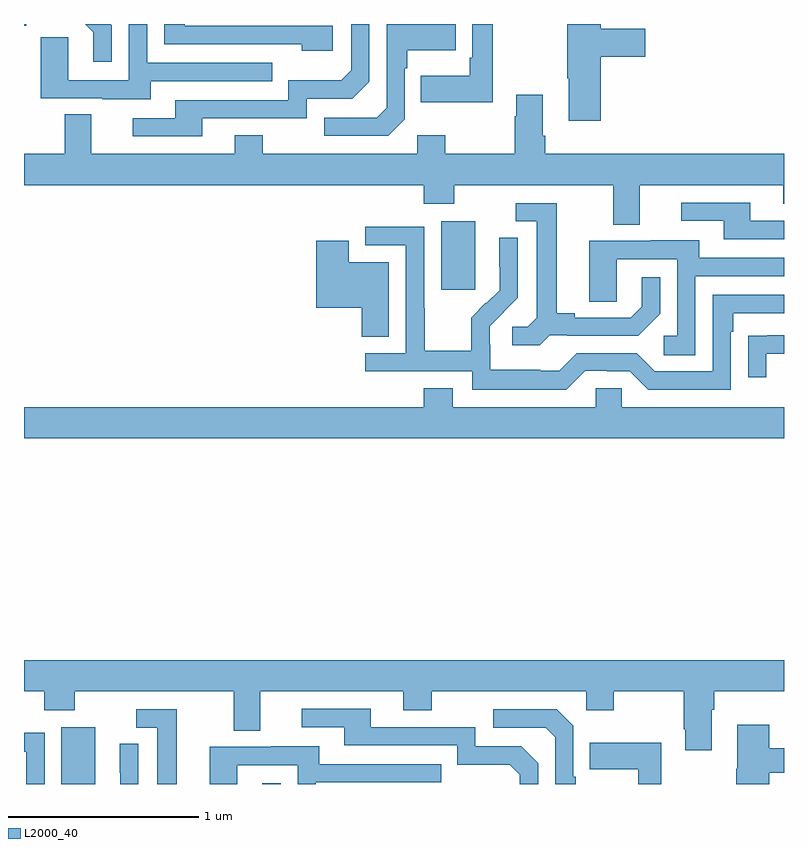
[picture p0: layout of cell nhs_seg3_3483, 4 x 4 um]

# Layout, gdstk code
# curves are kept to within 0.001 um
import gdstk
lib = gdstk.Library(unit=1e-6, precision=1e-09)
def R(c, l, rs):  # rectangles x0, y0, x1, y1
    for r in rs: c.add(gdstk.rectangle(r[:2], r[2:], *l))
def P(c, l, *ps):  # polygons
    for p in ps: c.add(gdstk.Polygon(p, *l))
L2000_40 = (2000, 40)

nhs_seg3_3483 = lib.new_cell('nhs_seg3_3483')
R(nhs_seg3_3483, L2000_40, [(291.197,728.4,291.376,728.698), (292.253,728.4,292.35,728.404), (293.195,731.001,293.374,731.362), (291,732.392,291.013,732.4)])
P(nhs_seg3_3483, L2000_40, [(294.035,732.227),(294.271,732.227),(294.271,732.374),(294.035,732.374),(294.035,732.4),(293.86,732.4),(293.86,732.115),(293.867,732.115),(293.867,731.892),(294.035,731.892)],
  [(292.624,732.39),(291.847,732.39),(291.847,732.4),(291.738,732.4),(291.738,732.294),(292.463,732.294),(292.463,732.26),(292.624,732.26)],
  [(293.467,732.4),(293.358,732.4),(293.358,732.223),(293.346,732.223),(293.346,732.127),(293.089,732.127),(293.089,731.987),(293.467,731.987)],
  [(291.462,732.394),(291.456,732.4),(291.322,732.4),(291.365,732.357),(291.365,732.201),(291.462,732.201)],
  [(293.004,731.898),(293.004,732.167),(293.017,732.167),(293.017,732.263),(293.273,732.263),(293.273,732.4),(292.908,732.4),(292.908,731.958),(292.857,731.907),(292.581,731.907),(292.581,731.811),(292.917,731.811)],
  [(291.667,732.099),(292.307,732.099),(292.307,732.195),(291.648,732.195),(291.648,732.4),(291.552,732.4),(291.552,732.105),(291.234,732.105),(291.234,732.329),(291.089,732.329),(291.089,732.009),(291.413,732.009),(291.413,732.005),(291.667,732.005)],
  [(291.937,731.904),(292.488,731.904),(292.488,732.006),(292.728,732.006),(292.818,732.096),(292.818,732.4),(292.722,732.4),(292.722,732.156),(292.669,732.103),(292.392,732.103),(292.392,732),(291.797,732),(291.797,731.904),(291.573,731.904),(291.573,731.808),(291.937,731.808)],
  [(294.241,731.552),(294.995,731.552),(294.995,731.453),(295,731.453),(295,731.716),(293.744,731.716),(293.744,731.812),(293.731,731.812),(293.731,732.028),(293.591,732.028),(293.591,731.915),(293.584,731.915),(293.584,731.716),(293.217,731.716),(293.217,731.815),(293.07,731.815),(293.07,731.716),(292.257,731.716),(292.257,731.815),(292.109,731.815),(292.109,731.716),(291.355,731.716),(291.355,731.924),(291.215,731.924),(291.215,731.716),(291,731.716),(291,731.552),(293.105,731.552),(293.105,731.453),(293.265,731.453),(293.265,731.552),(294.101,731.552),(294.101,731.344),(294.241,731.344)],
  [(295,731.364),(294.823,731.364),(294.823,731.46),(294.459,731.46),(294.459,731.364),(294.683,731.364),(294.683,731.268),(295,731.268)],
  [(293.766,730.761),(293.86,730.761),(293.86,730.758),(294.232,730.758),(294.348,730.874),(294.348,731.068),(294.251,731.068),(294.251,730.911),(294.194,730.854),(293.899,730.854),(293.899,730.877),(293.803,730.877),(293.803,731.457),(293.589,731.457),(293.589,731.361),(293.699,731.361),(293.699,730.853),(293.652,730.806),(293.571,730.806),(293.571,730.709),(293.714,730.709)],
  [(293.955,730.575),(294.071,730.575),(294.071,730.572),(294.189,730.572),(294.285,730.476),(294.72,730.476),(294.72,730.781),(294.733,730.781),(294.733,730.878),(295,730.878),(295,730.974),(294.624,730.974),(294.624,730.572),(294.321,730.572),(294.225,730.668),(293.91,730.668),(293.817,730.575),(293.717,730.575),(293.717,730.579),(293.454,730.579),(293.454,730.713),(293.452,730.713),(293.452,730.81),(293.598,730.958),(293.598,731.276),(293.502,731.276),(293.502,731.122),(293.504,731.122),(293.504,731),(293.433,730.929),(293.43,730.932),(293.353,730.855),(293.353,730.681),(293.109,730.681),(293.109,730.904),(293.106,730.904),(293.106,731.334),(292.797,731.334),(292.797,731.235),(293.01,731.235),(293.01,730.668),(292.797,730.668),(292.797,730.572),(293.358,730.572),(293.358,730.475),(293.855,730.475)],
  [(294.534,731.073),(295,731.073),(295,731.169),(294.553,731.169),(294.553,731.263),(294.299,731.263),(294.299,731.259),(293.975,731.259),(293.975,730.939),(294.12,730.939),(294.12,731.163),(294.438,731.163),(294.438,730.758),(294.366,730.758),(294.366,730.657),(294.534,730.657)],
  [(292.921,731.146),(292.708,731.146),(292.708,731.26),(292.538,731.26),(292.538,730.907),(292.778,730.907),(292.778,730.753),(292.921,730.753)],
  [(294.907,730.665),(295,730.665),(295,730.761),(294.913,730.761),(294.913,730.76),(294.811,730.76),(294.811,730.542),(294.907,730.542)],
  [(295,730.384),(294.147,730.384),(294.147,730.482),(294.009,730.482),(294.009,730.384),(293.257,730.384),(293.257,730.483),(293.105,730.483),(293.105,730.384),(291,730.384),(291,730.22),(295,730.22)],
  [(294.619,728.792),(294.632,728.792),(294.632,728.888),(295,728.888),(295,729.052),(291,729.052),(291,728.888),(291.107,728.888),(291.107,728.789),(291.267,728.789),(291.267,728.888),(292.103,728.888),(292.103,728.68),(292.243,728.68),(292.243,728.888),(292.997,728.888),(292.997,728.789),(293.145,728.789),(293.145,728.888),(293.958,728.888),(293.958,728.789),(294.105,728.789),(294.105,728.888),(294.472,728.888),(294.472,728.689),(294.479,728.689),(294.479,728.577),(294.619,728.577)],
  [(293.706,728.508),(293.616,728.598),(293.376,728.598),(293.376,728.7),(292.825,728.7),(292.825,728.796),(292.461,728.796),(292.461,728.7),(292.685,728.7),(292.685,728.604),(293.28,728.604),(293.28,728.501),(293.557,728.501),(293.61,728.448),(293.61,728.4),(293.706,728.4)],
  [(291.805,728.793),(291.591,728.793),(291.591,728.697),(291.701,728.697),(291.701,728.4),(291.805,728.4)],
  [(293.905,728.437),(293.892,728.437),(293.892,728.706),(293.805,728.793),(293.469,728.793),(293.469,728.697),(293.745,728.697),(293.796,728.646),(293.796,728.4),(293.905,728.4)],
  [(294.923,728.458),(295,728.458),(295,728.587),(294.923,728.587),(294.923,728.713),(294.755,728.713),(294.755,728.481),(294.748,728.481),(294.748,728.4),(294.923,728.4)],
  [(291.108,728.67),(291,728.67),(291,728.571),(291.012,728.571),(291.012,728.4),(291.108,728.4)],
  [(294.355,728.617),(293.977,728.617),(293.977,728.477),(294.234,728.477),(294.234,728.4),(294.355,728.4)],
  [(291.6,728.612),(291.504,728.612),(291.504,728.458),(291.506,728.458),(291.506,728.4),(291.6,728.4)],
  [(292.122,728.499),(292.44,728.499),(292.44,728.4),(292.536,728.4),(292.536,728.409),(293.195,728.409),(293.195,728.505),(292.555,728.505),(292.555,728.599),(292.301,728.599),(292.301,728.595),(291.977,728.595),(291.977,728.4),(292.122,728.4)])

lib.write_gds('nhs_seg3_3483.gds')
